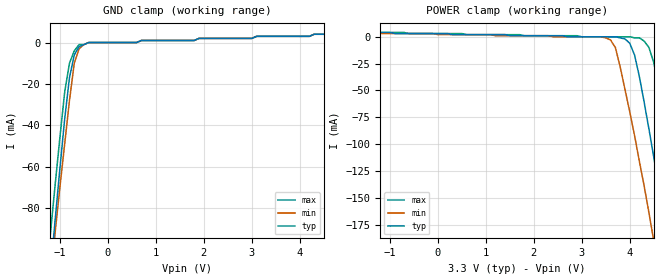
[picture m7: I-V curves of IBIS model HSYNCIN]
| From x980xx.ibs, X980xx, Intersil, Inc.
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|   HSYNCIN MODEL
[Model]   HSYNCIN
Model_type   Input
Vinl = 0.8Vc
Vinh = 2.5V
C_comp   3.355pF  3.227pF  3.485pF
|   typ   min   max
[Voltage Range]   3.3   3   3.6
[Temperature Range]  25   85   -40
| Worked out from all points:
|   GND clamp passes 1 mA (typ) near -0.50 V on its own axis
[GND_Clamp]
|V   I(typ)   I(min)   I(max)
-3.3V     -834mA     -785mA     -727mA
-1.2V     -112mA     -116mA     -93mA
-1.1V     -86mA      -92mA      -69mA
-900mV    -37mA      -49mA      -24mA
-800mV    -17mA      -28mA      -10mA
-700mV    -6mA       -10mA      -4mA
-600mV    -2mA       -3mA       -1mA
-400mV    0A         0A         0A
5.4V      4mA        4mA        4mA
5.5V      5mA        5mA        5mA
6.5V      5mA        5mA        5mA
6.6V      5mA        6mA        5mA
[Power_Clamp]
|V   I(typ)   I(min)   I(max)
-3.3V     5mA        5mA        6mA
3.5V      0A         -1mA       0A
3.7V      0A         -10mA      0A
4V        -6mA       -70mA      0A
4.2V      -37mA      -116mA     -1mA
4.4V      -86mA      -164mA     -10mA
4.5V      -112mA     -190mA     -24mA
4.7V      -165mA     -243mA     -69mA
4.8V      -193mA     -271mA     -93mA
5.1V      -282mA     -359mA     -167mA
5.2V      -313mA     -391mA     -193mA
6.6V      -834mA     -910mA     -620mA
